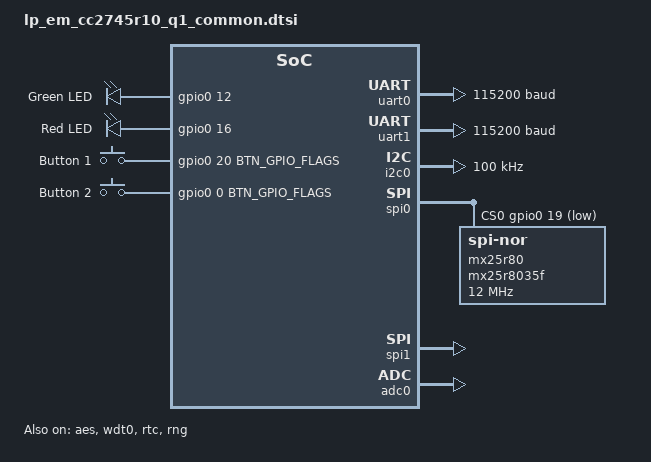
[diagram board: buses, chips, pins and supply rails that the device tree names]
/*
 * Copyright (c) 2026 Texas Instruments Incorporated
 *
 * SPDX-License-Identifier: Apache-2.0
 */

#define BTN_GPIO_FLAGS (GPIO_ACTIVE_LOW | GPIO_PULL_UP)

/ {
	chosen {
		zephyr,sram = &sram0;
		zephyr,flash = &flash0;
		zephyr,console = &uart0;
		zephyr,shell-uart = &uart0;
		zephyr,bt-hci = &ti_bt_hci;
		zephyr,bt-c2h-uart = &uart0;
		zephyr,code-partition = &slot0_partition;
		zephyr,uart-mcumgr = &uart0;
	};

	aliases {
		led0 = &led0;
		led1 = &led1;
		sw0 = &btn0;
		sw1 = &btn1;
		rtc = &rtc;
	};

	leds {
		compatible = "gpio-leds";

		led0: led_0 {
			gpios = <&gpio0 12 GPIO_ACTIVE_HIGH>;
			label = "Green LED";
		};

		led1: led_1 {
			gpios = <&gpio0 16 GPIO_ACTIVE_HIGH>;
			label = "Red LED";
		};
	};

	keys {
		compatible = "gpio-keys";

		btn0: btn_0 {
			gpios = <&gpio0 20 BTN_GPIO_FLAGS>;
			label = "Button 1";
			zephyr,code = <INPUT_KEY_0>;
		};

		btn1: btn_1 {
			gpios = <&gpio0 0 BTN_GPIO_FLAGS>;
			label = "Button 2";
			zephyr,code = <INPUT_KEY_1>;
		};
	};

	lfxosc: lf_xosc {
		compatible = "ti,cc27xx-lf-xosc";
	};

	ti_bt_hci: ti_bt_hci {
		compatible = "ti,bt-hci";
		status = "okay";
	};
};

/delete-node/ &slot0_partition;

&flash0 {
	partitions {
		/* 40 KiB (0xa000) for MCUboot */
		boot_partition: partition@0 {
			label = "mcuboot";
			reg = <0x00000000 0x0000a000>;
		};

		/* 446464 Bytes (0x6d000) per slot for application */
		slot0_partition: partition@a000 {
			label = "image-0";
			reg = <0x0000a000 0x0006d000>;
		};

		slot1_partition: partition@77000 {
			label = "image-1";
			reg = <0x00077000 0x0006d000>;
		};
	};
};

&cpu0 {
	clock-frequency = <96000000>;
};

&gpio0 {
	status = "okay";
};

&uart0 {
	status = "okay";
	current-speed = <115200>;
	pinctrl-0 = <&uart0_rx_default &uart0_tx_default>;
	pinctrl-names = "default";
};

&uart1 {
	status = "okay";
	current-speed = <115200>;
	pinctrl-0 = <&uart1_rx_default &uart1_tx_default>;
	pinctrl-names = "default";
};

&i2c0 {
	status = "okay";
	pinctrl-0 = <&i2c0_scl_default
		     &i2c0_sda_default>;
	clock-frequency = <100000>;
	pinctrl-names = "default";
};

&spi0 {
	status = "okay";
	pinctrl-0 = <&spi0_sck_default
		     &spi0_mosi_default
		     &spi0_miso_default
		     &spi0_cs_default>;
	pinctrl-1 = <&spi0_sck_sleep
		     &spi0_mosi_sleep
		     &spi0_miso_sleep
		     &spi0_cs_sleep>;
	pinctrl-names = "default", "sleep";
	cs-gpios = <&gpio0 19 GPIO_ACTIVE_LOW>;

	mx25r80: mx25r8035f@0 {
		status = "okay";
		compatible = "jedec,spi-nor";
		reg = <0>;
		zephyr,pm-device-runtime-auto;
		spi-max-frequency = <12000000>;
		size = <0x800000>;
		jedec-id = [c2 28 14];
		has-dpd;
		dpd-wakeup-sequence = <30000 20 35000>;
		t-enter-dpd = <10000>;
		sfdp-bfp = [e5 20 f1 ff ff ff 7f 00 44 eb 08 6b 08 3b 04 bb
			    ee ff ff ff ff ff 00 ff ff ff 00 ff 0c 20 0f 52
			    10 d8 00 ff 23 72 f5 00 82 ed 04 b7 44 83 38 44
			    30 b0 30 b0 f7 c4 d5 5c 00 be 29 ff f0 d0 ff ff];
	};
};

&spi1 {
	status = "okay";
	pinctrl-0 = <&spi1_sck_default
		     &spi1_mosi_default
		     &spi1_miso_default
		     &spi1_cs_default>;
	pinctrl-1 = <&spi1_sck_sleep
		     &spi1_mosi_sleep
		     &spi1_miso_sleep
		     &spi1_cs_sleep>;
	pinctrl-names = "default", "sleep";
};

&dma {
	status = "okay";
};

&aes {
	status = "okay";
};

&adc0 {
	status = "okay";
	pinctrl-0 = <&adc0_ch3
		     &adc0_ch4
		     &adc0_ch5
		     &adc0_ch6
		     &adc0_ch7
		     &adc0_ch8>;
	pinctrl-names = "default";
};

&wdt0 {
	status = "okay";
};

&rtc {
	status = "okay";
};

&rng {
	status = "okay";
};
